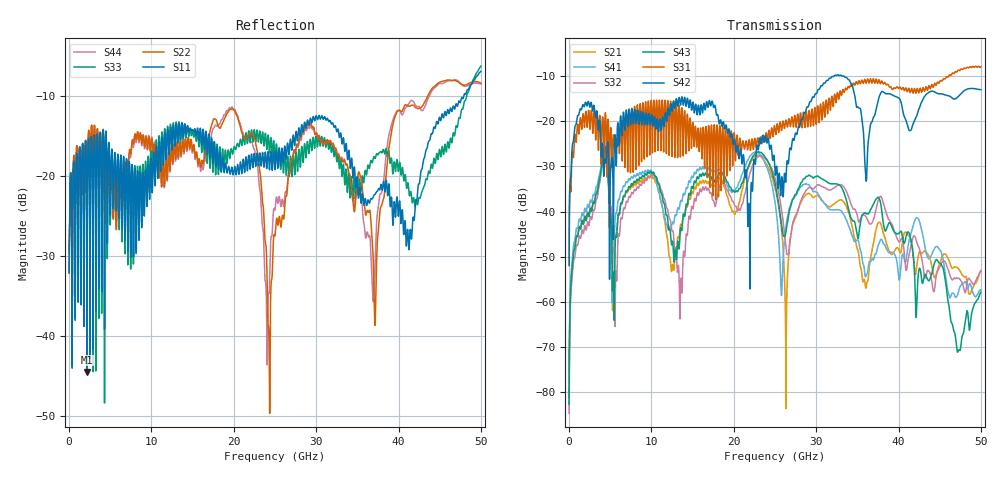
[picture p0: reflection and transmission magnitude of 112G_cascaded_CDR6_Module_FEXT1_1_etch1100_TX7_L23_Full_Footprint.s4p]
! Created Tue Feb 26 10:09:59 2019
# hz S ma R 50
! 4 Port Network Data from SP1.SP block
! freq  magS11  angS11  magS12  angS12  magS13  angS13  magS14  angS14
!  magS21  angS21  magS22  angS22  magS23  angS23  magS24  angS24
!  magS31  angS31  magS32  angS32  magS33  angS33  magS34  angS34
!  magS41  angS41  magS42  angS42  magS43  angS43  magS44  angS44
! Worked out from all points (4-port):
!   5000 points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, 10 MHz to 50 GHz, reference 50 ohm
!   strongest paths, dB at 10 MHz, 12.51 GHz, 25.01 GHz, 37.51 GHz, 50 GHz:
!     S42: -51.9, -17.8, -31.2, -15.7, -13.1
!     S31: -51.9, -27.4, -21.7, -11.5, -8.0
!     S43: -82.7, -46.9, -33.8, -36.8, -57.8
!     S32: -84.6, -44.3, -32.6, -37.6, -53.1
!     S41: -80.9, -42.5, -37.9, -47.6, -57.3
!     S21: -82.4, -52.3, -34.7, -42.6, -53.2
!   lowest |S11| = -44.4 dB at 2.19 GHz (marker M1), VSWR 1.01, Z = 49.7 - j0.526 ohm
!   |S11| at or under -10 dB: start of sweep to 47.91 GHz
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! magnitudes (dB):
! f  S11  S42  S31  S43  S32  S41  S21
! 10 MHz  -32.1  -51.9  -51.9  -82.7  -84.6  -80.9  -82.4
! 2.19 GHz  -44.4  -16.6  -21.2  -40.8  -42.8  -38.9  -40.6
! 19.97 GHz  -19.7  -25.0  -23.6  -35.3  -37.9  -35.4  -40.0
! 24.31 GHz  -19.1  -25.5  -22.3  -29.5  -29.4  -31.7  -30.7
! 26.34 GHz  -17.8  -32.7  -19.8  -44.2  -48.0  -43.2  -83.5
! 28.99 GHz  -13.0  -16.9  -21.2  -32.2  -34.9  -34.0  -36.0
! 50 GHz  -6.9  -13.1  -8.0  -57.8  -53.1  -57.3  -53.2
